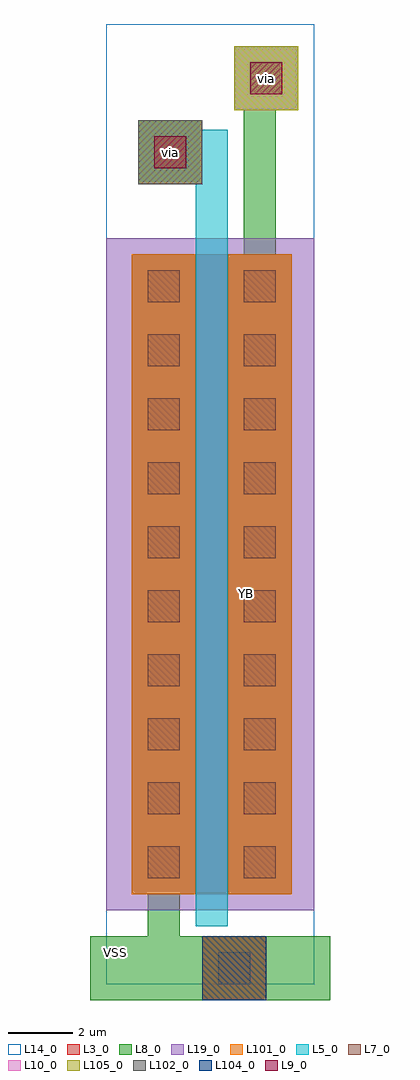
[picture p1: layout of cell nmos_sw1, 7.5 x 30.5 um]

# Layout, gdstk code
import gdstk
lib = gdstk.Library(unit=1e-6, precision=1e-09)
def R(c, l, rs):  # rectangles x0, y0, x1, y1
    for r in rs: c.add(gdstk.rectangle(r[:2], r[2:], *l))
L3_0 = (3, 0)
L5_0 = (5, 0)
L7_0 = (7, 0)
L8_0 = (8, 0)
L9_0 = (9, 0)
L10_0 = (10, 0)
L14_0 = (14, 0)
L19_0 = (19, 0)
L101_0 = (101, 0)
L102_0 = (102, 0)
L104_0 = (104, 0)
L105_0 = (105, 0)

dcont = lib.new_cell('dcont')
R(dcont, L3_0, [(-1,-1,1,1)])
R(dcont, L7_0, [(-0.5,-0.5,0.5,0.5)])
R(dcont, L8_0, [(-1,-1,1,1)])
R(dcont, L101_0, [(-1,-1,1,1)])
dcont.add(gdstk.Label('dcont', (0,0), layer=13, texttype=0))

pcont = lib.new_cell('pcont')
R(pcont, L5_0, [(-1,-1,1,1)])
R(pcont, L7_0, [(-0.5,-0.5,0.5,0.5)])
R(pcont, L8_0, [(-1,-1,1,1)])
R(pcont, L102_0, [(-1,-1,1,1)])
pcont.add(gdstk.Label('pcont', (0,0), layer=13, texttype=0))

via = lib.new_cell('Via')
R(via, L8_0, [(-1,-1,1,1)])
R(via, L9_0, [(-0.5,-0.5,0.5,0.5)])
R(via, L10_0, [(-1,-1,1,1)])
R(via, L105_0, [(-1,-1,1,1)])
via.add(gdstk.Label('via', (0,0), layer=13, texttype=0))

psubcont = lib.new_cell('psubcont')
R(psubcont, L104_0, [(-1,-1,1,1)])
psubcont.add(gdstk.Reference(dcont, (0,0)))
psubcont.add(gdstk.Label('PScon', (0,0), layer=13, texttype=0))

nmos_sw1 = lib.new_cell('nmos_sw1')
R(nmos_sw1, L3_0, [(0.8,2.8,5.8,22.8)])
R(nmos_sw1, L5_0, [(1.3,25.3,3.8,26.7)])
R(nmos_sw1, L8_0, [(-0.5,-0.5,7,1.5), (1,25,3,27), (4,27.3,6,29.3)])
R(nmos_sw1, L10_0, [(1,25,3,27), (4,27.3,6,29.3)])
R(nmos_sw1, L14_0, [(0,0,6.5,30)])
R(nmos_sw1, L19_0, [(0,2.3,6.5,23.3)])
R(nmos_sw1, L105_0, [(1,25,3,27), (4,27.3,6,29.3)])
nmos_sw1.add(gdstk.FlexPath([(3.3,26),(3.3,2.3)], 1, ends="extended", simple_path=True, layer=5, datatype=0))  # L5_0
nmos_sw1.add(gdstk.FlexPath([(1.8,1),(1.8,21.8)], 1, ends="extended", simple_path=True, layer=8, datatype=0))  # L8_0
nmos_sw1.add(gdstk.FlexPath([(4.8,28.5),(4.8,3.8)], 1, ends="extended", simple_path=True, layer=8, datatype=0))  # L8_0
nmos_sw1.add(gdstk.Reference(dcont, (1.8,19.8)))
nmos_sw1.add(gdstk.Reference(dcont, (4.8,17.8)))
nmos_sw1.add(gdstk.Reference(dcont, (1.8,15.8)))
nmos_sw1.add(gdstk.Reference(dcont, (4.8,13.8)))
nmos_sw1.add(gdstk.Reference(dcont, (1.8,11.8)))
nmos_sw1.add(gdstk.Reference(dcont, (4.8,9.8)))
nmos_sw1.add(gdstk.Reference(dcont, (1.8,7.8)))
nmos_sw1.add(gdstk.Reference(dcont, (4.8,5.8)))
nmos_sw1.add(gdstk.Reference(pcont, (2,26)))
nmos_sw1.add(gdstk.Reference(via, (2,26)))
nmos_sw1.add(gdstk.Reference(dcont, (4.8,3.8)))
nmos_sw1.add(gdstk.Reference(dcont, (1.8,3.8)))
nmos_sw1.add(gdstk.Reference(psubcont, (4,0.5)))
nmos_sw1.add(gdstk.Reference(via, (5,28.3)))
nmos_sw1.add(gdstk.Reference(dcont, (1.8,5.8)))
nmos_sw1.add(gdstk.Reference(dcont, (4.8,7.8)))
nmos_sw1.add(gdstk.Reference(dcont, (1.8,9.8)))
nmos_sw1.add(gdstk.Reference(dcont, (4.8,11.8)))
nmos_sw1.add(gdstk.Reference(dcont, (1.8,13.8)))
nmos_sw1.add(gdstk.Reference(dcont, (4.8,15.8)))
nmos_sw1.add(gdstk.Reference(dcont, (1.8,17.8)))
nmos_sw1.add(gdstk.Reference(dcont, (4.8,19.8)))
nmos_sw1.add(gdstk.Reference(dcont, (1.8,21.8)))
nmos_sw1.add(gdstk.Reference(dcont, (4.8,21.8)))
nmos_sw1.add(gdstk.Label('via', (2,26), layer=13, texttype=0))
nmos_sw1.add(gdstk.Label('via', (5,28.3), layer=13, texttype=0))
nmos_sw1.add(gdstk.Label('YB', (4.4,12.2), layer=13, texttype=0))
nmos_sw1.add(gdstk.Label('VSS', (0.3,1), layer=13, texttype=0))

lib.write_gds('nmos_sw1.gds')
